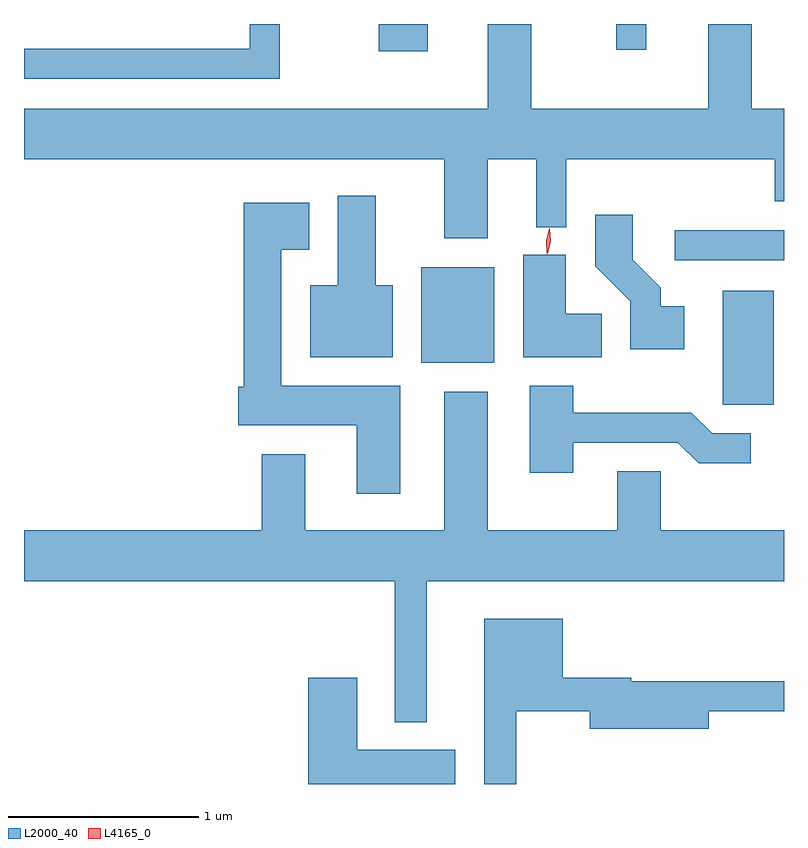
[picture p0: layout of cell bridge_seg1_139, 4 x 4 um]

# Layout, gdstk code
import gdstk
lib = gdstk.Library(unit=1e-6, precision=1e-09)
def R(c, l, rs):  # rectangles x0, y0, x1, y1
    for r in rs: c.add(gdstk.rectangle(r[:2], r[2:], *l))
def P(c, l, *ps):  # polygons
    for p in ps: c.add(gdstk.Polygon(p, *l))
L2000_40 = (2000, 40)
L4165_0 = (4165, 0)

bridge_seg1_139 = lib.new_cell('bridge_seg1_139')
R(bridge_seg1_139, L2000_40, [(863.096,951.566,863.364,952.164), (861.511,951.786,861.894,952.289), (862.843,952.326,863.419,952.484), (861.286,953.426,861.544,953.569), (862.536,953.433,862.694,953.569)])
P(bridge_seg1_139, L2000_40, [(861.859,952.856),(862.116,952.856),(862.116,952.498),(862.274,952.498),(862.274,952.856),(863.371,952.856),(863.371,952.636),(863.419,952.636),(863.419,953.124),(863.249,953.124),(863.249,953.569),(863.021,953.569),(863.021,953.124),(862.089,953.124),(862.089,953.569),(861.861,953.569),(861.861,953.124),(859.419,953.124),(859.419,952.856),(861.631,952.856),(861.631,952.441),(861.859,952.441)],
  [(860.764,953.569),(860.606,953.569),(860.606,953.439),(859.419,953.439),(859.419,953.281),(860.764,953.281)],
  [(861.359,952.194),(861.269,952.194),(861.269,952.664),(861.071,952.664),(861.071,952.194),(860.926,952.194),(860.926,951.816),(861.359,951.816)],
  [(861.399,951.664),(860.774,951.664),(860.774,952.381),(860.919,952.381),(860.919,952.629),(860.576,952.629),(860.576,951.659),(860.546,951.659),(860.546,951.456),(861.171,951.456),(861.171,951.096),(861.399,951.096)],
  [(862.894,952.084),(862.769,952.084),(862.769,952.182),(862.624,952.327),(862.624,952.564),(862.426,952.564),(862.426,952.294),(862.611,952.109),(862.611,951.856),(862.894,951.856)],
  [(862.459,952.044),(862.269,952.044),(862.269,952.354),(862.046,952.354),(862.046,951.816),(862.459,951.816)],
  [(862.309,951.366),(862.859,951.366),(862.969,951.256),(863.243,951.256),(863.243,951.414),(863.042,951.414),(862.932,951.524),(862.309,951.524),(862.309,951.664),(862.081,951.664),(862.081,951.206),(862.309,951.206)],
  [(861.539,950.636),(863.419,950.636),(863.419,950.904),(862.769,950.904),(862.769,951.214),(862.541,951.214),(862.541,950.904),(861.859,950.904),(861.859,951.634),(861.631,951.634),(861.631,950.904),(860.899,950.904),(860.899,951.304),(860.671,951.304),(860.671,950.904),(859.419,950.904),(859.419,950.636),(861.371,950.636),(861.371,949.893),(861.539,949.893)],
  [(862.009,949.951),(862.396,949.951),(862.396,949.861),(863.024,949.861),(863.024,949.951),(863.419,949.951),(863.419,950.109),(862.614,950.109),(862.614,950.129),(862.254,950.129),(862.254,950.439),(861.841,950.439),(861.841,949.569),(862.009,949.569)],
  [(861.689,949.749),(861.174,949.749),(861.174,950.129),(860.916,950.129),(860.916,949.569),(861.689,949.569)])
P(bridge_seg1_139, L4165_0, [(862.17,952.358),(862.167,952.427),(862.183,952.495),(862.184,952.495),(862.184,952.495),(862.187,952.426),(862.171,952.358),(862.171,952.358)],
  [(862.176,952.359),(862.175,952.36),(862.171,952.426),(862.186,952.491),(862.186,952.492),(862.187,952.491),(862.191,952.425),(862.176,952.36)])

lib.write_gds('bridge_seg1_139.gds')
